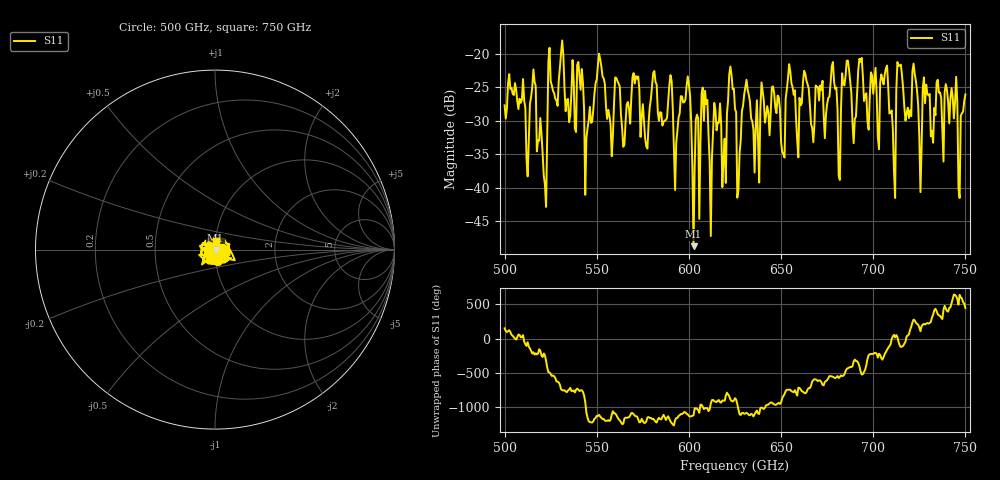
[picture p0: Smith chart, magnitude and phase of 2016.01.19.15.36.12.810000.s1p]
!Created with skrf (http://scikit-rf.org).
# GHz S RI R 50.0
!freq ReS11 ImS11
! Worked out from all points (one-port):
!   401 points, 500 GHz to 750 GHz, reference 50 ohm
!   lowest |S11| = -48.7 dB at 602.5 GHz (marker M1), VSWR 1.01, Z = 50.3 - j0.209 ohm
!   |S11| at or under -10 dB: start of sweep to end of sweep
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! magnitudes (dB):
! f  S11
! 500 GHz  -27.7
! 512.5 GHz  -38.3
! 515.6 GHz  -22.4
! 521.9 GHz  -39.5
! 525 GHz  -24.1
! 531.2 GHz  -18.0
! 541.2 GHz  -25.4
! 544.4 GHz  -32.6
! 551.2 GHz  -20.0
! 557.5 GHz  -30.6
! 562.5 GHz  -24.9
! 593.8 GHz  -31.5
! 599.4 GHz  -23.4
! 602.5 GHz  -48.7
! 608.1 GHz  -30.0
! 611.9 GHz  -47.2
! 619.4 GHz  -32.7
! 623.1 GHz  -23.2
! 625 GHz  -28.3
! 650.6 GHz  -34.7
! 656.2 GHz  -25.0
! 678.8 GHz  -24.2
! 681.2 GHz  -38.1
! 687.5 GHz  -24.1
! 718.8 GHz  -28.1
! 743.8 GHz  -29.7
! 747.5 GHz  -29.3
! 750 GHz  -26.1
